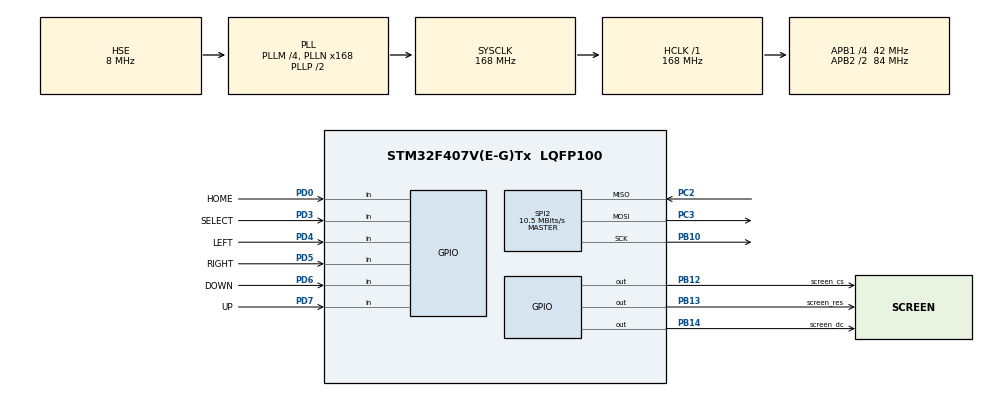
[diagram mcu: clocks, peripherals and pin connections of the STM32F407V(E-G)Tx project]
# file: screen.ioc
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Dma.Request0=SPI2_TX
Dma.SPI2_TX.0.Direction=DMA_MEMORY_TO_PERIPH
Dma.SPI2_TX.0.FIFOMode=DMA_FIFOMODE_DISABLE
Dma.SPI2_TX.0.Instance=DMA1_Stream4
Dma.SPI2_TX.0.MemDataAlignment=DMA_MDATAALIGN_BYTE
Dma.SPI2_TX.0.MemInc=DMA_MINC_ENABLE
Dma.SPI2_TX.0.Mode=DMA_NORMAL
Dma.SPI2_TX.0.PeriphDataAlignment=DMA_PDATAALIGN_BYTE
Dma.SPI2_TX.0.PeriphInc=DMA_PINC_DISABLE
Dma.SPI2_TX.0.Priority=DMA_PRIORITY_LOW
Mcu.Family=STM32F4
Mcu.Name=STM32F407V(E-G)Tx
Mcu.Package=LQFP100
NVIC.DMA1_Stream4_IRQn=true\:0\:0\:false\:false\:true\:false\:true\:true
NVIC.PriorityGroup=NVIC_PRIORITYGROUP_4
PB10.Mode=Full_Duplex_Master
PB10.Signal=SPI2_SCK
PB12.GPIO_Label=screen_cs
PB12.Signal=GPIO_Output
PB13.GPIO_Label=screen_res
PB13.Signal=GPIO_Output
PB14.GPIO_Label=screen_dc
PB14.Signal=GPIO_Output
PC14-OSC32_IN.Mode=LSE-External-Oscillator
PC14-OSC32_IN.Signal=RCC_OSC32_IN
PC15-OSC32_OUT.Mode=LSE-External-Oscillator
PC15-OSC32_OUT.Signal=RCC_OSC32_OUT
PC2.Mode=Full_Duplex_Master
PC2.Signal=SPI2_MISO
PC3.Mode=Full_Duplex_Master
PC3.Signal=SPI2_MOSI
PD0.GPIO_Label=HOME
PD0.GPIO_PuPd=GPIO_PULLDOWN
PD0.Signal=GPIO_Input
PD3.GPIO_Label=SELECT
PD3.GPIO_PuPd=GPIO_PULLDOWN
PD3.Signal=GPIO_Input
PD4.GPIO_Label=LEFT
PD4.GPIO_PuPd=GPIO_PULLDOWN
PD4.Signal=GPIO_Input
PD5.GPIO_Label=RIGHT
PD5.GPIO_PuPd=GPIO_PULLDOWN
PD5.Signal=GPIO_Input
PD6.GPIO_Label=DOWN
PD6.GPIO_PuPd=GPIO_PULLDOWN
PD6.Signal=GPIO_Input
PD7.GPIO_Label=UP
PD7.GPIO_PuPd=GPIO_PULLDOWN
PD7.Signal=GPIO_Input
PH0-OSC_IN.Mode=HSE-External-Oscillator
PH0-OSC_IN.Signal=RCC_OSC_IN
PH1-OSC_OUT.Mode=HSE-External-Oscillator
PH1-OSC_OUT.Signal=RCC_OSC_OUT
ProjectManager.HeapSize=0x200
ProjectManager.StackSize=0x400
ProjectManager.TargetToolchain=STM32CubeIDE
RCC.48MHZClocksFreq_Value=84000000
RCC.AHBFreq_Value=168000000
RCC.APB1CLKDivider=RCC_HCLK_DIV4
RCC.APB1Freq_Value=42000000
RCC.APB1TimFreq_Value=84000000
RCC.APB2CLKDivider=RCC_HCLK_DIV2
RCC.APB2Freq_Value=84000000
RCC.APB2TimFreq_Value=168000000
RCC.CortexFreq_Value=168000000
RCC.HCLKFreq_Value=168000000
RCC.HSE_VALUE=8000000
RCC.HSI_VALUE=16000000
RCC.PLLM=4
RCC.PLLN=168
RCC.PLLSourceVirtual=RCC_PLLSOURCE_HSE
RCC.RCC_RTC_Clock_Source=RCC_RTCCLKSOURCE_LSE
RCC.SYSCLKFreq_VALUE=168000000
RCC.SYSCLKSource=RCC_SYSCLKSOURCE_PLLCLK
RCC.VCOOutputFreq_Value=336000000
RTC.Date=20
RTC.Hours=12
RTC.Minutes=24
RTC.Year=24
SPI2.BaudRatePrescaler=SPI_BAUDRATEPRESCALER_4
SPI2.CalculateBaudRate=10.5 MBits/s
SPI2.Direction=SPI_DIRECTION_2LINES
SPI2.Mode=SPI_MODE_MASTER
SPI2.VirtualType=VM_MASTER
VP_RTC_VS_RTC_Activate.Mode=RTC_Enabled
VP_RTC_VS_RTC_Calendar.Mode=RTC_Calendar
board=custom

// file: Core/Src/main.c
/* USER CODE BEGIN Header */
/**
  ******************************************************************************
  * @file           : main.c
  * @brief          : Main program body
  ******************************************************************************
  * @attention
  *
  * Copyright (c) 2024 STMicroelectronics.
  * All rights reserved.
  *
  * This software is licensed under terms that can be found in the LICENSE file
  * in the root directory of this software component.
  * If no LICENSE file comes with this software, it is provided AS-IS.
  *
  ******************************************************************************
  */
/* USER CODE END Header */
#include "main.h"

/* USER CODE BEGIN Includes */
//#include "../Inc/Models/screen_model.h"
#include "../Inc/screen/screen.h"
//#include "../Inc/config/rtc_config.h"
/* USER CODE END Includes */

RTC_HandleTypeDef hrtc;

SPI_HandleTypeDef hspi2;
DMA_HandleTypeDef hdma_spi2_tx;

void SystemClock_Config(void);
static void MX_GPIO_Init(void);
static void MX_DMA_Init(void);
static void MX_SPI2_Init(void);
static void MX_RTC_Init(void);

/* USER CODE BEGIN 0 */
volatile unsigned int *DWT_CYCCNT   = (volatile unsigned int *)0xE0001004; //address of the register
volatile unsigned int *DWT_CONTROL  = (volatile unsigned int *)0xE0001000; //address of the register
volatile unsigned int *DWT_LAR      = (volatile unsigned int *)0xE0001FB0; //address of the register
volatile unsigned int *SCB_DEMCR    = (volatile unsigned int *)0xE000EDFC; //address of the register

	 int Vo=177;
	 float Io=0.98;
	 int P=300;
	 int Q=247;
	 int S=300;
	 int Freq=50;

//	 Date_Time fromRtc;
//	 extern Date_Time date_time;

	 void change_RTC_Time(Date_Time newDateTime){

		 RTC_TimeTypeDef sTime = {0};
		 RTC_DateTypeDef sDate = {0};
		  sTime.Hours = newDateTime.hour;
		  sTime.Minutes=newDateTime.minute;
		  sDate.Month = newDateTime.month;
		  sDate.Date = newDateTime.day;
		  sDate.Year = newDateTime.year;

		   HAL_RTC_SetTime(&hrtc, &sTime, RTC_FORMAT_BIN) ;
		   HAL_RTC_SetDate(&hrtc, &sDate, RTC_FORMAT_BIN) ;

	 }

	 void set_Time(){
	  RTC_TimeTypeDef sTime = {0};
	  RTC_DateTypeDef sDate = {0};

	   sTime.Hours = 0x12;
	   sTime.Minutes = 0x24;
	   sTime.Seconds = 0x0;
	   sTime.DayLightSaving = RTC_DAYLIGHTSAVING_NONE;
	   sTime.StoreOperation = RTC_STOREOPERATION_RESET;
	   if (HAL_RTC_SetTime(&hrtc, &sTime, RTC_FORMAT_BIN) != HAL_OK)
	   {
	     Error_Handler();
	   }
	   sDate.WeekDay = RTC_WEEKDAY_MONDAY;
	   sDate.Month = RTC_MONTH_JANUARY;
	   sDate.Date = 0x20;
	   sDate.Year = 0x24;

	   if (HAL_RTC_SetDate(&hrtc, &sDate, RTC_FORMAT_BIN) != HAL_OK)
	   {
	     Error_Handler();
	   }

	  HAL_RTCEx_BKUPWrite(&hrtc, RTC_BKP_DR1,0x32F2);
}

void get_Time(void) {

	 RTC_TimeTypeDef sTime;
	 RTC_DateTypeDef sDate;
    // Get current time
    HAL_RTC_GetTime(&hrtc, &sTime, RTC_FORMAT_BIN);

    // Get current date
    HAL_RTC_GetDate(&hrtc, &sDate, RTC_FORMAT_BIN);

    if(date_time.minute!=sTime.Minutes){
    date_time.day=sDate.Date;
    date_time.month=sDate.Month;
    date_time.year=sDate.Year;
    date_time.minute=sTime.Minutes;
    date_time.hour=sTime.Hours;
//    Date_Page_Set_Value(date_time);
    Page_View();
    }

    // Display or use the time and date
}
//int  j=0;
/* USER CODE END 0 */

int main(void)
{

  /* USER CODE BEGIN 1 */

//HAL_SPI_Transmit_DMA(hspi, pData, Size)
  /* USER CODE END 1 */

  /* MCU Configuration--------------------------------------------------------*/

  /* Reset of all peripherals, Initializes the Flash interface and the Systick. */
  HAL_Init();

  /* Configure the system clock */
  SystemClock_Config();

  /* Initialize all configured peripherals */
  MX_GPIO_Init();
  MX_DMA_Init();
  MX_SPI2_Init();
  MX_RTC_Init();
  /* USER CODE BEGIN 2 */
  *SCB_DEMCR |= 0x01000000;
  *DWT_LAR = 0xC5ACCE55; // enable access
  *DWT_CYCCNT = 0; // reset the counter
  *DWT_CONTROL |= 1 ; // enable the counter
  void RTC_Init();
  Init_Screen();
if(HAL_RTCEx_BKUPRead(&hrtc,RTC_BKP_DR1)!=0x32F2)
{
	set_Time();
}

  /* USER CODE END 2 */

  /* Infinite loop */
  /* USER CODE BEGIN WHILE */

  while (1)
  {
	  if(HAL_GPIO_ReadPin(UP_GPIO_Port, UP_Pin))
	  	  {
	  		  Page_Controller(SCREEN_UP_CONTROLLER);
	  		  while(HAL_GPIO_ReadPin(UP_GPIO_Port, UP_Pin));
	  	  }
	  	  if(HAL_GPIO_ReadPin(DOWN_GPIO_Port, DOWN_Pin))
	  	  	  {
	  	  	  Page_Controller(SCREEN_DOWN_CONTROLLER);
	  	  	  while(HAL_GPIO_ReadPin(DOWN_GPIO_Port, DOWN_Pin));
	  	  	  }

	  	  if(HAL_GPIO_ReadPin(SELECT_GPIO_Port, SELECT_Pin))
	  	  	  {
	  		  Page_Controller(SCREEN_SELECT_CONTROLLER);
	  		  while(HAL_GPIO_ReadPin(SELECT_GPIO_Port, SELECT_Pin));
	  	  	  }
	  	if(HAL_GPIO_ReadPin(HOME_GPIO_Port, HOME_Pin))
	  		  	  	  {
	  		current_page = SCREEN_HOME_PAGE;
	  		Page_View();
	  		  		  while(HAL_GPIO_ReadPin(HOME_GPIO_Port, HOME_Pin));
	  		  	  	  }
	  	  	  if(HAL_GPIO_ReadPin(LEFT_GPIO_Port, LEFT_Pin))
	  	  	  	  {
	  	  		  Page_Controller(SCREEN_LEFT_CONTROLLER);
	  	  		 while(HAL_GPIO_ReadPin(LEFT_GPIO_Port, LEFT_Pin));
	  	  	  	  }
	  	  	  if(HAL_GPIO_ReadPin(RIGHT_GPIO_Port, RIGHT_Pin))
	  	  	  	  {
	  	  		  Page_Controller(SCREEN_RIGHT_CONTROLLER);
	  	  		 while(HAL_GPIO_ReadPin(RIGHT_GPIO_Port, RIGHT_Pin));
	  	  	  	  }
//	  	  	HAL_Delay(100);
	  	  	  get_Time();

    /* USER CODE END WHILE */

  }
}

void SystemClock_Config(void)
{
  RCC_OscInitTypeDef RCC_OscInitStruct = {0};
  RCC_ClkInitTypeDef RCC_ClkInitStruct = {0};

  /** Configure the main internal regulator output voltage
  */
  __HAL_RCC_PWR_CLK_ENABLE();
  __HAL_PWR_VOLTAGESCALING_CONFIG(PWR_REGULATOR_VOLTAGE_SCALE1);

  /** Initializes the RCC Oscillators according to the specified parameters
  * in the RCC_OscInitTypeDef structure.
  */
  RCC_OscInitStruct.OscillatorType = RCC_OSCILLATORTYPE_HSE|RCC_OSCILLATORTYPE_LSE;
  RCC_OscInitStruct.HSEState = RCC_HSE_ON;
  RCC_OscInitStruct.LSEState = RCC_LSE_ON;
  RCC_OscInitStruct.PLL.PLLState = RCC_PLL_ON;
  RCC_OscInitStruct.PLL.PLLSource = RCC_PLLSOURCE_HSE;
  RCC_OscInitStruct.PLL.PLLM = 4;
  RCC_OscInitStruct.PLL.PLLN = 168;
  RCC_OscInitStruct.PLL.PLLP = RCC_PLLP_DIV2;
  RCC_OscInitStruct.PLL.PLLQ = 4;
  if (HAL_RCC_OscConfig(&RCC_OscInitStruct) != HAL_OK)
  {
    Error_Handler();
  }

  /** Initializes the CPU, AHB and APB buses clocks
  */
  RCC_ClkInitStruct.ClockType = RCC_CLOCKTYPE_HCLK|RCC_CLOCKTYPE_SYSCLK
                              |RCC_CLOCKTYPE_PCLK1|RCC_CLOCKTYPE_PCLK2;
  RCC_ClkInitStruct.SYSCLKSource = RCC_SYSCLKSOURCE_PLLCLK;
  RCC_ClkInitStruct.AHBCLKDivider = RCC_SYSCLK_DIV1;
  RCC_ClkInitStruct.APB1CLKDivider = RCC_HCLK_DIV4;
  RCC_ClkInitStruct.APB2CLKDivider = RCC_HCLK_DIV2;

  if (HAL_RCC_ClockConfig(&RCC_ClkInitStruct, FLASH_LATENCY_5) != HAL_OK)
  {
    Error_Handler();
  }
}

static void MX_RTC_Init(void)
{

  /** Initialize RTC Only
  */
  hrtc.Instance = RTC;
  hrtc.Init.HourFormat = RTC_HOURFORMAT_24;
  hrtc.Init.AsynchPrediv = 127;
  hrtc.Init.SynchPrediv = 255;
  hrtc.Init.OutPut = RTC_OUTPUT_DISABLE;
  hrtc.Init.OutPutPolarity = RTC_OUTPUT_POLARITY_HIGH;
  hrtc.Init.OutPutType = RTC_OUTPUT_TYPE_OPENDRAIN;
  if (HAL_RTC_Init(&hrtc) != HAL_OK)
  {
    Error_Handler();
  }

  /** Initialize RTC and set the Time and Date

}

static void MX_SPI2_Init(void)
{

  /* SPI2 parameter configuration*/
  hspi2.Instance = SPI2;
  hspi2.Init.Mode = SPI_MODE_MASTER;
  hspi2.Init.Direction = SPI_DIRECTION_2LINES;
  hspi2.Init.DataSize = SPI_DATASIZE_8BIT;
  hspi2.Init.CLKPolarity = SPI_POLARITY_LOW;
  hspi2.Init.CLKPhase = SPI_PHASE_1EDGE;
  hspi2.Init.NSS = SPI_NSS_SOFT;
  hspi2.Init.BaudRatePrescaler = SPI_BAUDRATEPRESCALER_4;
  hspi2.Init.FirstBit = SPI_FIRSTBIT_MSB;
  hspi2.Init.TIMode = SPI_TIMODE_DISABLE;
  hspi2.Init.CRCCalculation = SPI_CRCCALCULATION_DISABLE;
  hspi2.Init.CRCPolynomial = 10;
  if (HAL_SPI_Init(&hspi2) != HAL_OK)
  {
    Error_Handler();
  }

}

static void MX_DMA_Init(void)
{

  /* DMA controller clock enable */
  __HAL_RCC_DMA1_CLK_ENABLE();

  /* DMA interrupt init */
  /* DMA1_Stream4_IRQn interrupt configuration */
  HAL_NVIC_SetPriority(DMA1_Stream4_IRQn, 0, 0);
  HAL_NVIC_EnableIRQ(DMA1_Stream4_IRQn);

}

static void MX_GPIO_Init(void)
{
  GPIO_InitTypeDef GPIO_InitStruct = {0};

  /* GPIO Ports Clock Enable */
  __HAL_RCC_GPIOC_CLK_ENABLE();
  __HAL_RCC_GPIOH_CLK_ENABLE();
  __HAL_RCC_GPIOB_CLK_ENABLE();
  __HAL_RCC_GPIOD_CLK_ENABLE();

  /*Configure GPIO pin Output Level */
  HAL_GPIO_WritePin(GPIOB, screen_cs_Pin|screen_res_Pin|screen_dc_Pin, GPIO_PIN_RESET);

  /*Configure GPIO pins : screen_cs_Pin screen_res_Pin screen_dc_Pin */
  GPIO_InitStruct.Pin = screen_cs_Pin|screen_res_Pin|screen_dc_Pin;
  GPIO_InitStruct.Mode = GPIO_MODE_OUTPUT_PP;
  GPIO_InitStruct.Pull = GPIO_NOPULL;
  GPIO_InitStruct.Speed = GPIO_SPEED_FREQ_LOW;
  HAL_GPIO_Init(GPIOB, &GPIO_InitStruct);

  /*Configure GPIO pins : HOME_Pin SELECT_Pin LEFT_Pin RIGHT_Pin
                           DOWN_Pin UP_Pin */
  GPIO_InitStruct.Pin = HOME_Pin|SELECT_Pin|LEFT_Pin|RIGHT_Pin
                          |DOWN_Pin|UP_Pin;
  GPIO_InitStruct.Mode = GPIO_MODE_INPUT;
  GPIO_InitStruct.Pull = GPIO_PULLDOWN;
  HAL_GPIO_Init(GPIOD, &GPIO_InitStruct);

}

void Error_Handler(void)
{
  __disable_irq();
  while (1)
  {
  }
}
